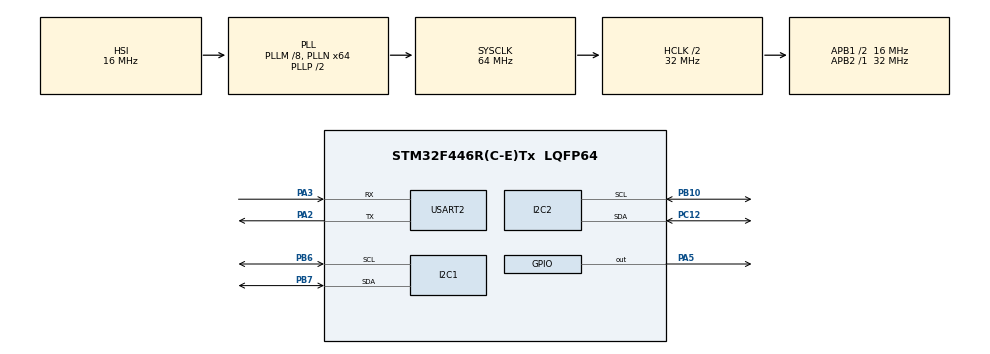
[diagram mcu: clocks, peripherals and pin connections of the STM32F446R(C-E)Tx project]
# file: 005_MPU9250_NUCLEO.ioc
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I2C1.I2C_Mode=I2C_Fast
Mcu.Family=STM32F4
Mcu.Name=STM32F446R(C-E)Tx
Mcu.Package=LQFP64
NVIC.PriorityGroup=NVIC_PRIORITYGROUP_0
PA13.Mode=Serial_Wire
PA13.Signal=SYS_JTMS-SWDIO
PA14.Mode=Serial_Wire
PA14.Signal=SYS_JTCK-SWCLK
PA2.Mode=Asynchronous
PA2.Signal=USART2_TX
PA3.Mode=Asynchronous
PA3.Signal=USART2_RX
PA5.Signal=GPIO_Output
PB10.Mode=I2C
PB10.Signal=I2C2_SCL
PB6.Mode=I2C
PB6.Signal=I2C1_SCL
PB7.Mode=I2C
PB7.Signal=I2C1_SDA
PC12.Mode=I2C
PC12.Signal=I2C2_SDA
PH0-OSC_IN.Mode=HSE-External-Oscillator
PH0-OSC_IN.Signal=RCC_OSC_IN
PH1-OSC_OUT.Mode=HSE-External-Oscillator
PH1-OSC_OUT.Signal=RCC_OSC_OUT
ProjectManager.HeapSize=0x200
ProjectManager.StackSize=0x400
ProjectManager.TargetToolchain=STM32CubeIDE
RCC.48MHZClocksFreq_Value=84000000
RCC.AHBCLKDivider=RCC_SYSCLK_DIV2
RCC.AHBFreq_Value=32000000
RCC.APB1CLKDivider=RCC_HCLK_DIV2
RCC.APB1Freq_Value=16000000
RCC.APB1TimFreq_Value=32000000
RCC.APB2Freq_Value=32000000
RCC.APB2TimFreq_Value=32000000
RCC.CortexFreq_Value=32000000
RCC.FLatency-AdvancedSettings=FLASH_LATENCY_1
RCC.HCLKFreq_Value=32000000
RCC.HSE_VALUE=8000000
RCC.HSI_VALUE=16000000
RCC.PLLM=8
RCC.PLLN=64
RCC.SYSCLKFreq_VALUE=64000000
RCC.SYSCLKSource=RCC_SYSCLKSOURCE_PLLCLK
RCC.USBFreq_Value=64000000
RCC.VCOOutputFreq_Value=128000000
USART2.VirtualMode=VM_ASYNC
board=NUCLEO-F446RE

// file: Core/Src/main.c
/* USER CODE BEGIN Header */
/**
  ******************************************************************************
  * @file           : main.c
  * @brief          : Main program body
  ******************************************************************************
  * @attention
  *
  * Copyright (c) 2023 STMicroelectronics.
  * All rights reserved.
  *
  * This software is licensed under terms that can be found in the LICENSE file
  * in the root directory of this software component.
  * If no LICENSE file comes with this software, it is provided AS-IS.
  *
  ******************************************************************************
  */
/* USER CODE END Header */
#include "main.h"

/* USER CODE BEGIN Includes */
#include "BME280_STM32.h"
#include <stdio.h>
#include <string.h>
#include <stdlib.h>
#include <math.h>
#include <stdbool.h>

/* USER CODE END Includes */

/* USER CODE BEGIN PD */
#define MPU6050_ADDR 0x68<<1
#define PWR_MGMT_1_REG 0x6B
#define SMPLRT_DIV_REG 0x19
#define GYRO_CNFG_REG 0x1B
#define ACC_CNFG_REG 0x1C
/* USER CODE END PD */

I2C_HandleTypeDef hi2c1;
I2C_HandleTypeDef hi2c2;

UART_HandleTypeDef huart2;

/* USER CODE BEGIN PV */
uint8_t data;
uint8_t buffer[2],tuffer[6],cuffer[6];
int16_t gyro_raw[3],acc_raw[3];
float gyro_cal[3];
int16_t acc_total_vector;
float angle_pitch_gyro, angle_roll_gyro;
float angle_pitch_acc, angle_roll_acc;
float angle_pitch, angle_roll;
int16_t raw_temp;
float temp;
int i;
float prevtime, prevtime1, time1, elapsedtime1, prevtime2, time2, elapsedtime2;
HAL_StatusTypeDef set_gyro;
/* USER CODE END PV */

void SystemClock_Config(void);
static void MX_GPIO_Init(void);
static void MX_I2C1_Init(void);
static void MX_USART2_UART_Init(void);
static void MX_I2C2_Init(void);

/* USER CODE BEGIN 0 */
float Temperature, Pressure, Humidity, Altitude;

/* USER CODE END 0 */

int main(void)
{

  /* MCU Configuration--------------------------------------------------------*/

  /* Reset of all peripherals, Initializes the Flash interface and the Systick. */
  HAL_Init();

  /* Configure the system clock */
  SystemClock_Config();

  /* Initialize all configured peripherals */
  MX_GPIO_Init();
  MX_I2C1_Init();
  MX_USART2_UART_Init();
  MX_I2C2_Init();
  /* USER CODE BEGIN 2 */
  data = 0x00;
  HAL_I2C_Mem_Write(&hi2c1, MPU6050_ADDR, PWR_MGMT_1_REG,1, &data,1,HAL_MAX_DELAY);
  data = 0x08;
  HAL_I2C_Mem_Write(&hi2c1, MPU6050_ADDR, GYRO_CNFG_REG, 1, &data,1,HAL_MAX_DELAY);
  data =0x10;
  HAL_I2C_Mem_Write(&hi2c1, MPU6050_ADDR, ACC_CNFG_REG, 1, &data,1, HAL_MAX_DELAY);

  for(i=0;i<2000;i++)
  {

	  elapsedtime2=(time2-prevtime2)*1000;

	  cuffer[0]=0x43;
	  HAL_I2C_Master_Transmit(&hi2c1, MPU6050_ADDR, cuffer, 1,HAL_MAX_DELAY);
	  HAL_I2C_Master_Receive(&hi2c1, MPU6050_ADDR, cuffer, 6,HAL_MAX_DELAY);

	  gyro_raw[0] = (cuffer[0]<<8 |cuffer[1]);
	  gyro_raw[1] = (cuffer[2]<<8 |cuffer[3]);
	  gyro_raw[2] = (cuffer[4]<<8 |cuffer[5]);

	  gyro_cal[0]  += gyro_raw[0];
	  gyro_cal[1]  += gyro_raw[1];
	  gyro_cal[2]  += gyro_raw[2];

	  HAL_Delay(3);

  }

  gyro_cal[0] /=2000;
  gyro_cal[1] /=2000;
  gyro_cal[2] /=2000;

  HAL_GPIO_TogglePin(GPIOA, GPIO_PIN_5);
  HAL_Delay(1000);
  BME280_Config(OSRS_2, OSRS_16, OSRS_1, MODE_NORMAL, T_SB_0p5, IIR_16);
  /* USER CODE END 2 */

  /* Infinite loop */
  /* USER CODE BEGIN WHILE */
  while (1)
  {
	  BME280_Measure();
	 	  	  Altitude = 44330 * (1 - pow(Pressure/1013.25, (1/5.255)));
	 	  	  HAL_Delay (500);

	  prevtime1 = time1;
	  time1 = HAL_GetTick();

	  tuffer[0]=0x3B;
	  HAL_I2C_Master_Transmit(&hi2c1, MPU6050_ADDR, tuffer, 1, HAL_MAX_DELAY);
	  HAL_I2C_Master_Receive(&hi2c1, MPU6050_ADDR, tuffer, 6, HAL_MAX_DELAY);

	  acc_raw[0] =(tuffer[0]<<8 |tuffer[1]);
	  acc_raw[1] =(tuffer[2]<<8 |tuffer[3]);
	  acc_raw[2] =(tuffer[4]<<8 |tuffer[5]);

	  buffer[0] = 0x41;
	  HAL_I2C_Master_Transmit(&hi2c1, MPU6050_ADDR, buffer, 1, HAL_MAX_DELAY);
	  HAL_I2C_Master_Receive(&hi2c1, MPU6050_ADDR, buffer, 2, HAL_MAX_DELAY);

	  raw_temp = (buffer[0] << 8 | buffer[1]);
	  temp = (raw_temp /340.0) + 36.53;

	  cuffer[0] = 0x43;
	  HAL_I2C_Master_Transmit(&hi2c1, MPU6050_ADDR, cuffer, 1, HAL_MAX_DELAY);
	  HAL_I2C_Master_Receive(&hi2c1, MPU6050_ADDR, cuffer, 6, HAL_MAX_DELAY);
	  gyro_raw[0] =(cuffer[0]<<8 |cuffer[1]);
	  gyro_raw[1] =(cuffer[2]<<8 |cuffer[3]);
	  gyro_raw[2] =(cuffer[4]<<8 |cuffer[5]);

	  gyro_raw[0] -= gyro_cal[0];
	  gyro_raw[1] -= gyro_cal[1];
	  gyro_raw[2] -= gyro_cal[2];
	  prevtime = HAL_GetTick();

	  angle_pitch_gyro += gyro_raw[0]* 0.0000611;//x ekseni
	  angle_roll_gyro += gyro_raw[1]* 0.0000611;//y ekseni

	  angle_pitch_gyro += angle_roll_gyro * sin(gyro_raw[2]* 0.000001066);
	  angle_roll_gyro -= angle_pitch_gyro * sin(gyro_raw[2]* 0.000001066);

	  acc_total_vector = sqrt((acc_raw[0]*acc_raw[0])+(acc_raw[1]*acc_raw[1])+(acc_raw[2]*acc_raw[2]));

	  angle_pitch_acc = asin((float)acc_raw[1]/acc_total_vector)*57.296;
	  angle_roll_acc = asin((float)acc_raw[0]/acc_total_vector)*-57.296;

	  angle_pitch_acc -= 0.00; //**************************************x eksenini ELLE KALİBRE ETMEK İÇİN BURAYI KULLAN
	  angle_roll_acc -= 0.00;  //**************************************y ekseni İÇİN BURAYI

	  if(set_gyro)
	  {
		  angle_pitch = angle_pitch_gyro * 0.9996 + angle_pitch_acc * 0.0004;
		  angle_roll = angle_roll_gyro * 0.9996 + angle_roll_acc * 0.0004;
	  }

	  else
	  {
		  angle_pitch = angle_pitch_acc;
		  set_gyro = true;
	  }
	  elapsedtime1=(time1-prevtime1)*1000;

	  while((HAL_GetTick() - prevtime)*1000< 4000);

	  if(angle_roll_gyro>45)
	  {
		  HAL_GPIO_WritePin(GPIOA, GPIO_PIN_6, SET);

	  }

	  else
	  {
		  HAL_GPIO_WritePin(GPIOA, GPIO_PIN_6, RESET);
	  }

    /* USER CODE END WHILE */

  }
}

void SystemClock_Config(void)
{
  RCC_OscInitTypeDef RCC_OscInitStruct = {0};
  RCC_ClkInitTypeDef RCC_ClkInitStruct = {0};

  /** Configure the main internal regulator output voltage
  */
  __HAL_RCC_PWR_CLK_ENABLE();
  __HAL_PWR_VOLTAGESCALING_CONFIG(PWR_REGULATOR_VOLTAGE_SCALE3);

  /** Initializes the RCC Oscillators according to the specified parameters
  * in the RCC_OscInitTypeDef structure.
  */
  RCC_OscInitStruct.OscillatorType = RCC_OSCILLATORTYPE_HSI;
  RCC_OscInitStruct.HSIState = RCC_HSI_ON;
  RCC_OscInitStruct.HSICalibrationValue = RCC_HSICALIBRATION_DEFAULT;
  RCC_OscInitStruct.PLL.PLLState = RCC_PLL_ON;
  RCC_OscInitStruct.PLL.PLLSource = RCC_PLLSOURCE_HSI;
  RCC_OscInitStruct.PLL.PLLM = 8;
  RCC_OscInitStruct.PLL.PLLN = 64;
  RCC_OscInitStruct.PLL.PLLP = RCC_PLLP_DIV2;
  RCC_OscInitStruct.PLL.PLLQ = 2;
  RCC_OscInitStruct.PLL.PLLR = 2;
  if (HAL_RCC_OscConfig(&RCC_OscInitStruct) != HAL_OK)
  {
    Error_Handler();
  }

  /** Initializes the CPU, AHB and APB buses clocks
  */
  RCC_ClkInitStruct.ClockType = RCC_CLOCKTYPE_HCLK|RCC_CLOCKTYPE_SYSCLK
                              |RCC_CLOCKTYPE_PCLK1|RCC_CLOCKTYPE_PCLK2;
  RCC_ClkInitStruct.SYSCLKSource = RCC_SYSCLKSOURCE_PLLCLK;
  RCC_ClkInitStruct.AHBCLKDivider = RCC_SYSCLK_DIV2;
  RCC_ClkInitStruct.APB1CLKDivider = RCC_HCLK_DIV2;
  RCC_ClkInitStruct.APB2CLKDivider = RCC_HCLK_DIV1;

  if (HAL_RCC_ClockConfig(&RCC_ClkInitStruct, FLASH_LATENCY_1) != HAL_OK)
  {
    Error_Handler();
  }
}

static void MX_I2C1_Init(void)
{

  hi2c1.Instance = I2C1;
  hi2c1.Init.ClockSpeed = 400000;
  hi2c1.Init.DutyCycle = I2C_DUTYCYCLE_2;
  hi2c1.Init.OwnAddress1 = 0;
  hi2c1.Init.AddressingMode = I2C_ADDRESSINGMODE_7BIT;
  hi2c1.Init.DualAddressMode = I2C_DUALADDRESS_DISABLE;
  hi2c1.Init.OwnAddress2 = 0;
  hi2c1.Init.GeneralCallMode = I2C_GENERALCALL_DISABLE;
  hi2c1.Init.NoStretchMode = I2C_NOSTRETCH_DISABLE;
  if (HAL_I2C_Init(&hi2c1) != HAL_OK)
  {
    Error_Handler();
  }

}

static void MX_I2C2_Init(void)
{

  hi2c2.Instance = I2C2;
  hi2c2.Init.ClockSpeed = 100000;
  hi2c2.Init.DutyCycle = I2C_DUTYCYCLE_2;
  hi2c2.Init.OwnAddress1 = 0;
  hi2c2.Init.AddressingMode = I2C_ADDRESSINGMODE_7BIT;
  hi2c2.Init.DualAddressMode = I2C_DUALADDRESS_DISABLE;
  hi2c2.Init.OwnAddress2 = 0;
  hi2c2.Init.GeneralCallMode = I2C_GENERALCALL_DISABLE;
  hi2c2.Init.NoStretchMode = I2C_NOSTRETCH_DISABLE;
  if (HAL_I2C_Init(&hi2c2) != HAL_OK)
  {
    Error_Handler();
  }

}

static void MX_USART2_UART_Init(void)
{

  huart2.Instance = USART2;
  huart2.Init.BaudRate = 115200;
  huart2.Init.WordLength = UART_WORDLENGTH_8B;
  huart2.Init.StopBits = UART_STOPBITS_1;
  huart2.Init.Parity = UART_PARITY_NONE;
  huart2.Init.Mode = UART_MODE_TX_RX;
  huart2.Init.HwFlowCtl = UART_HWCONTROL_NONE;
  huart2.Init.OverSampling = UART_OVERSAMPLING_16;
  if (HAL_UART_Init(&huart2) != HAL_OK)
  {
    Error_Handler();
  }

}

static void MX_GPIO_Init(void)
{
  GPIO_InitTypeDef GPIO_InitStruct = {0};

  /* GPIO Ports Clock Enable */
  __HAL_RCC_GPIOH_CLK_ENABLE();
  __HAL_RCC_GPIOA_CLK_ENABLE();
  __HAL_RCC_GPIOB_CLK_ENABLE();
  __HAL_RCC_GPIOC_CLK_ENABLE();

  /*Configure GPIO pin Output Level */
  HAL_GPIO_WritePin(GPIOA, GPIO_PIN_5, GPIO_PIN_RESET);

  /*Configure GPIO pin : PA5 */
  GPIO_InitStruct.Pin = GPIO_PIN_5;
  GPIO_InitStruct.Mode = GPIO_MODE_OUTPUT_PP;
  GPIO_InitStruct.Pull = GPIO_NOPULL;
  GPIO_InitStruct.Speed = GPIO_SPEED_FREQ_LOW;
  HAL_GPIO_Init(GPIOA, &GPIO_InitStruct);

}

void Error_Handler(void)
{
  __disable_irq();
  while (1)
  {
  }
}
